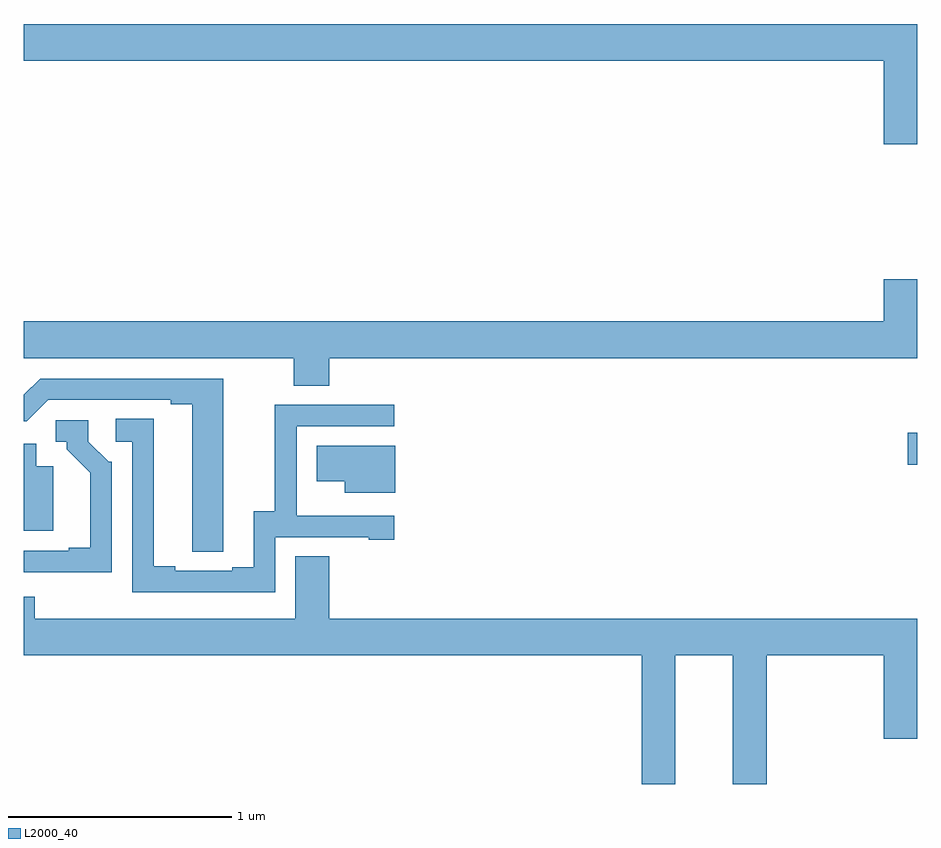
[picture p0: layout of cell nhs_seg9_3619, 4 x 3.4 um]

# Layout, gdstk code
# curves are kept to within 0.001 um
import gdstk
lib = gdstk.Library(unit=1e-6, precision=1e-09)
def R(c, l, rs):  # rectangles x0, y0, x1, y1
    for r in rs: c.add(gdstk.rectangle(r[:2], r[2:], *l))
def P(c, l, *ps):  # polygons
    for p in ps: c.add(gdstk.Polygon(p, *l))
L2000_40 = (2000, 40)

nhs_seg9_3619 = lib.new_cell('nhs_seg9_3619')
R(nhs_seg9_3619, L2000_40, [(320.958,1207.931,321,1208.073)])
P(nhs_seg9_3619, L2000_40, [(321,1209.904),(317,1209.904),(317,1209.74),(320.852,1209.74),(320.852,1209.366),(321,1209.366)],
  [(318.368,1208.408),(321,1208.408),(321,1208.761),(320.852,1208.761),(320.852,1208.572),(317,1208.572),(317,1208.408),(318.208,1208.408),(318.208,1208.284),(318.368,1208.284)],
  [(317.892,1207.648),(317.893,1208.316),(317.073,1208.316),(317,1208.243),(317,1208.124),(317.013,1208.124),(317.109,1208.22),(317.657,1208.22),(317.657,1208.2),(317.753,1208.2),(317.753,1207.54),(317.892,1207.54)],
  [(318.126,1207.605),(318.545,1207.605),(318.545,1207.593),(318.658,1207.593),(318.658,1207.701),(318.224,1207.701),(318.224,1207.702),(318.222,1207.702),(318.222,1208.103),(318.658,1208.103),(318.658,1208.199),(318.124,1208.199),(318.124,1207.721),(318.029,1207.721),(318.029,1207.47),(317.933,1207.47),(317.933,1207.455),(317.677,1207.455),(317.677,1207.475),(317.581,1207.475),(317.581,1208.135),(317.412,1208.135),(317.412,1208.034),(317.484,1208.034),(317.484,1207.359),(318.126,1207.359)],
  [(317.394,1207.944),(317.379,1207.944),(317.289,1208.034),(317.289,1208.13),(317.142,1208.13),(317.142,1208.034),(317.192,1208.034),(317.192,1207.999),(317.297,1207.894),(317.297,1207.558),(317.201,1207.558),(317.201,1207.545),(317,1207.545),(317,1207.449),(317.394,1207.448)],
  [(317.131,1207.924),(317.056,1207.924),(317.056,1208.023),(317,1208.023),(317,1207.634),(317.131,1207.634)],
  [(318.664,1208.014),(318.312,1208.014),(318.312,1207.856),(318.437,1207.856),(318.437,1207.805),(318.664,1207.805)],
  [(319.918,1207.076),(320.174,1207.076),(320.174,1206.5),(320.327,1206.5),(320.327,1207.076),(320.852,1207.076),(320.852,1206.702),(321,1206.702),(321,1207.24),(318.368,1207.24),(318.368,1207.52),(318.215,1207.52),(318.215,1207.24),(317.048,1207.24),(317.048,1207.338),(317,1207.338),(317,1207.076),(319.766,1207.076),(319.766,1206.5),(319.918,1206.5)])

lib.write_gds('nhs_seg9_3619.gds')
